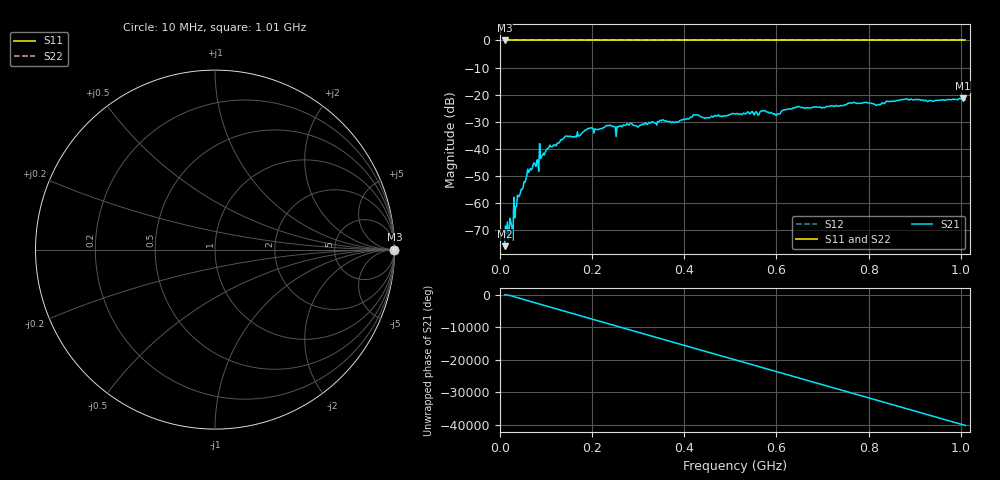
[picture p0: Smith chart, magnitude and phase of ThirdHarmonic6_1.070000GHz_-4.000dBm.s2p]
! 8/16/2025 9:41:27 AM
! C:\ANRITSUVNA\TEMP\TEMP.S2P
! CHANNEL.1
! TR.MEASUREMENT
! RAW.DATA
! RF.CORRECTION.OFF
! AVERAGING.OFF
! IF.BANDWIDTH: 5KHZ
! SWEEPTYPE:  FREQ.SWEEP(Linear)
! Reference Plane Port Info
! PORT:  PORT1  PORT2
! DISTANCE:  0  m  0  m
! TIME:  0  s  0  s
! PHASE.OFFSET:  0  deg.  0  deg.
! LOSS:  0  dB  0  dB
! REF.LOSS:  0  dB  0  dB
! REF.FREQ:  0  Hz  0  Hz
! Power Info
! POWER:  -20  dBm  -20  dBm
! EFF.POWER:  -20  dBm  -20  dBm
! SOURCE.ATTEN:  0  dB  0  dB
! TEST.ATTEN:  0  dB  0  dB
# GHZ S RI R 50.0
! FREQ.GHZ  S11RE  S11IM  S21RE  S21IM  S12RE  S12IM  S22RE  S22IM
!; PortSelection: Port_12
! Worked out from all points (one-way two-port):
!   501 points, 10 MHz to 1.01 GHz, reference 50 ohm
!   highest |S21| = -21.29 dB at 1.004 GHz (marker M1); lowest = -75.9 dB at 10 MHz (marker M2)
!   lowest |S11| = 0.0 dB at 10 MHz (marker M3)
!   |S11| at or under -10 dB: nowhere
!   |S22| runs from 0.0 to 0.0 dB; largest |S21 - S12| = 1.1
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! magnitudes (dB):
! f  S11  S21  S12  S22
! 10 MHz  0.0  -75.9  0.0  0.0
! 20 MHz  0.0  -69.4  0.0  0.0
! 24 MHz  0.0  -67.4  0.0  0.0
! 32 MHz  0.0  -65.4  0.0  0.0
! 34 MHz  0.0  -61.4  0.0  0.0
! 62 MHz  0.0  -48.6  0.0  0.0
! 80 MHz  0.0  -44.1  0.0  0.0
! 90 MHz  0.0  -42.7  0.0  0.0
! 142 MHz  0.0  -35.3  0.0  0.0
! 178 MHz  0.0  -34.2  0.0  0.0
! 234 MHz  0.0  -31.5  0.0  0.0
! 252 MHz  0.0  -35.5  0.0  0.0
! 344 MHz  0.0  -30.0  0.0  0.0
! 424 MHz  0.0  -27.5  0.0  0.0
! 510 MHz  0.0  -27.1  0.0  0.0
! 572 MHz  0.0  -26.0  0.0  0.0
! 602 MHz  0.0  -27.1  0.0  0.0
! 646 MHz  0.0  -24.4  0.0  0.0
! 678 MHz  0.0  -24.7  0.0  0.0
! 844 MHz  0.0  -22.6  0.0  0.0
! 1.004 GHz  0.0  -21.3  0.0  0.0
! 1.01 GHz  0.0  -21.8  0.0  0.0
